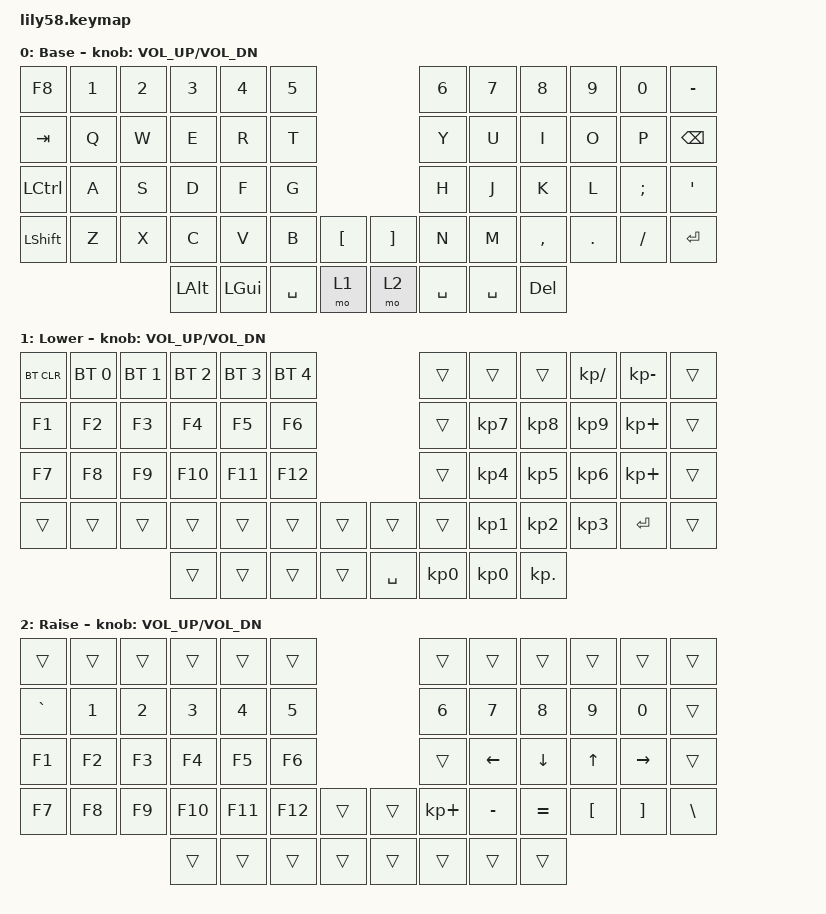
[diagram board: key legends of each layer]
/*
 * Copyright (c) 2020 The ZMK Contributors
 *
 * SPDX-License-Identifier: MIT
 */

#include <behaviors.dtsi>
#include <dt-bindings/zmk/bt.h>
#include <dt-bindings/zmk/keys.h>

/ {
    keymap {
        compatible = "zmk,keymap";

        default_layer {
            // ------------------------------------------------------------------------------------------------------------
            // |   F8  |  1  |  2  |  3   |  4   |  5   |                   |  6   |  7    |  8    |  9   |   0   |   -   |
            // |  TAB  |  Q  |  W  |  E   |  R   |  T   |                   |  Y   |  U    |  I    |  O   |   P   |  "|"  |
            // |  CTRL |  A  |  S  |  D   |  F   |  G   |                   |  H   |  J    |  K    |  L   |   ;   |   '   |
            // | SHIFT |  Z  |  X  |  C   |  V   |  B   |   "["  |  |  "]"  |  N   |  M    |  ,    |  .   |   /   |   `   |
            //                     | ALT  | GUI  | LOWER|  ENTER |  | SPACE | RAISE| BSPC  | GUI   |

            label = "Base";
            bindings = <
&kp F8     &kp N1  &kp N2  &kp N3    &kp N4    &kp N5                           &kp N6     &kp N7     &kp N8      &kp N9   &kp N0    &kp MINUS
&kp TAB    &kp Q   &kp W   &kp E     &kp R     &kp T                            &kp Y      &kp U      &kp I       &kp O    &kp P     &kp BACKSPACE
&kp LCTRL  &kp A   &kp S   &kp D     &kp F     &kp G                            &kp H      &kp J      &kp K       &kp L    &kp SEMI  &kp SQT
&kp LSHFT  &kp Z   &kp X   &kp C     &kp V     &kp B      &kp LBKT    &kp RBKT  &kp N      &kp M      &kp COMMA   &kp DOT  &kp FSLH  &kp RETURN
                           &kp LALT  &kp LGUI  &kp SPACE  &mo 1       &mo 2     &kp SPACE  &kp SPACE  &kp DELETE
            >;

            sensor-bindings = <&inc_dec_kp C_VOL_UP C_VOL_DN>;
        };

        lower_layer {
            // ------------------------------------------------------------------------------------------------------------
            // | BTCLR | BT1 | BT2 |  BT3 |  BT4 |  BT5 |                   |      |       |       |  /   |   -   |       |
            // |  F1   |  F2 |  F3 |  F4  |  F5  |  F6  |                   |      |   7   |   8   |  9   |   +   |       |
            // |  F7   |  F8 |  F9 |  F10 |  F11 |  F12 |                   |      |   4   |   5   |  6   | ENTER |       |
            // |       |     |     |      |      |      |        |  |       |      |   1   |   2   |  3   |       |       |
            //                     |      |      |      | SPACE  |  |   0   |      |       |   .   |

            label = "Lower";
            bindings = <
&bt BT_CLR  &bt BT_SEL 0  &bt BT_SEL 1  &bt BT_SEL 2  &bt BT_SEL 3  &bt BT_SEL 4                       &trans     &trans     &trans      &kp KP_DIVIDE  &kp KP_MINUS  &trans
&kp F1      &kp F2        &kp F3        &kp F4        &kp F5        &kp F6                             &trans     &kp KP_N7  &kp KP_N8   &kp KP_N9      &kp KP_PLUS   &trans
&kp F7      &kp F8        &kp F9        &kp F10       &kp F11       &kp F12                            &trans     &kp KP_N4  &kp KP_N5   &kp KP_N6      &kp KP_PLUS   &trans
&trans      &trans        &trans        &trans        &trans        &trans        &trans    &trans     &trans     &kp KP_N1  &kp KP_N2   &kp KP_N3      &kp ENTER     &trans
                                        &trans        &trans        &trans        &trans    &kp SPACE  &kp KP_N0  &kp KP_N0  &kp KP_DOT
            >;

            sensor-bindings = <&inc_dec_kp C_VOL_UP C_VOL_DN>;
        };

        raise_layer {
            // ------------------------------------------------------------------------------------------------------------
            // |       |     |     |      |      |      |                   |      |       |       |      |       |       |
            // |   `   |  1  |  2  |  3   |  4   |  5   |                   |  6   |   7   |   8   |  9   |   0   |       |
            // |   F1  |  F2 |  F3 |  F4  |  F5  |  F6  |                   |      |   <-  |   v   |  ^   |  ->   |       |
            // |   F7  |  F8 |  F9 |  F10 |  F11 |  F12 |        |  |       |  +   |   -   |   =   |  [   |   ]   |   \   |
            //                     |      |      |      |        |  |       |      |       |       |

            label = "Raise";
            bindings = <
&trans     &trans  &trans  &trans   &trans   &trans                     &trans       &trans     &trans     &trans    &trans     &trans
&kp GRAVE  &kp N1  &kp N2  &kp N3   &kp N4   &kp N5                     &kp N6       &kp N7     &kp N8     &kp N9    &kp N0     &trans
&kp F1     &kp F2  &kp F3  &kp F4   &kp F5   &kp F6                     &trans       &kp LEFT   &kp DOWN   &kp UP    &kp RIGHT  &trans
&kp F7     &kp F8  &kp F9  &kp F10  &kp F11  &kp F12  &trans    &trans  &kp KP_PLUS  &kp MINUS  &kp EQUAL  &kp LBKT  &kp RBKT   &kp BSLH
                           &trans   &trans   &trans   &trans    &trans  &trans       &trans     &trans
            >;

            sensor-bindings = <&inc_dec_kp C_VOL_UP C_VOL_DN>;
        };
    };
};
